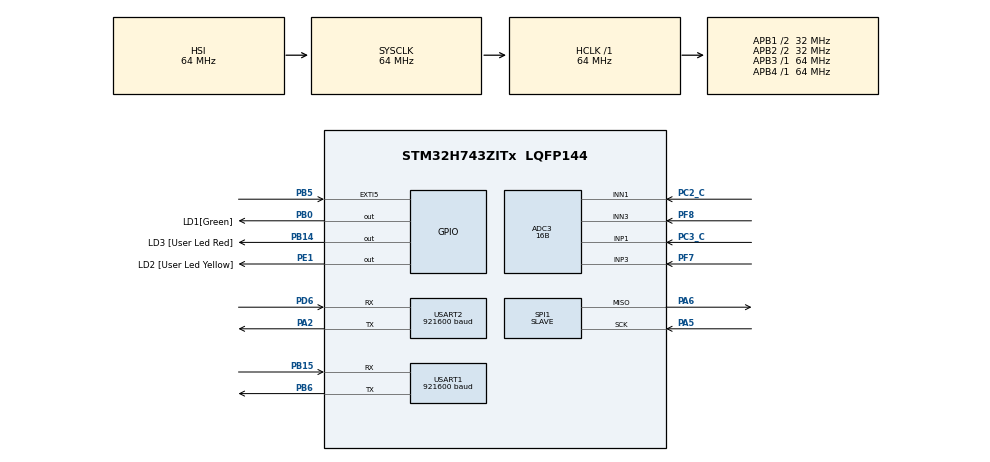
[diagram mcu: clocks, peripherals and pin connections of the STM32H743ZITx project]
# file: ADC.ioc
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ADC3.Channel-0\#ChannelRegularConversion=ADC_CHANNEL_1
ADC3.Channel-1\#ChannelRegularConversion=ADC_CHANNEL_3
ADC3.ClockPrescaler=ADC_CLOCK_ASYNC_DIV4
ADC3.ClockPrescalerADC3=ADC_CLOCK_ASYNC_DIV4
ADC3.ContinuousConvMode=DISABLE
ADC3.ConversionDataManagement=ADC_CONVERSIONDATA_DMA_CIRCULAR
ADC3.EOCSelection=ADC_EOC_SEQ_CONV
ADC3.ExternalTrigConv=ADC_EXTERNALTRIG_T2_TRGO
ADC3.NbrOfConversion=2
ADC3.NbrOfConversionFlag=1
ADC3.OffsetNumber-0\#ChannelRegularConversion=ADC_OFFSET_NONE
ADC3.OffsetNumber-1\#ChannelRegularConversion=ADC_OFFSET_NONE
ADC3.OffsetSignedSaturation-0\#ChannelRegularConversion=DISABLE
ADC3.OffsetSignedSaturation-1\#ChannelRegularConversion=DISABLE
ADC3.OversamplingMode=ENABLE
ADC3.Rank-0\#ChannelRegularConversion=1
ADC3.Rank-1\#ChannelRegularConversion=2
ADC3.Ratio=32
ADC3.Resolution=ADC_RESOLUTION_16B
ADC3.RightBitShift=ADC_RIGHTBITSHIFT_5
ADC3.SamplingTime-0\#ChannelRegularConversion=ADC_SAMPLETIME_8CYCLES_5
ADC3.SamplingTime-1\#ChannelRegularConversion=ADC_SAMPLETIME_8CYCLES_5
ADC3.SingleDiff-0\#ChannelRegularConversion=ADC_DIFFERENTIAL_ENDED
ADC3.SingleDiff-1\#ChannelRegularConversion=ADC_DIFFERENTIAL_ENDED
CORTEX_M7.default_mode_Activation=1
Dma.ADC3.0.Direction=DMA_PERIPH_TO_MEMORY
Dma.ADC3.0.EventEnable=DISABLE
Dma.ADC3.0.FIFOMode=DMA_FIFOMODE_DISABLE
Dma.ADC3.0.Instance=DMA1_Stream0
Dma.ADC3.0.MemDataAlignment=DMA_MDATAALIGN_HALFWORD
Dma.ADC3.0.MemInc=DMA_MINC_ENABLE
Dma.ADC3.0.Mode=DMA_CIRCULAR
Dma.ADC3.0.PeriphDataAlignment=DMA_PDATAALIGN_HALFWORD
Dma.ADC3.0.PeriphInc=DMA_PINC_DISABLE
Dma.ADC3.0.Polarity=HAL_DMAMUX_REQ_GEN_RISING
Dma.ADC3.0.Priority=DMA_PRIORITY_LOW
Dma.ADC3.0.RequestNumber=1
Dma.ADC3.0.SignalID=NONE
Dma.ADC3.0.SyncEnable=DISABLE
Dma.ADC3.0.SyncPolarity=HAL_DMAMUX_SYNC_NO_EVENT
Dma.ADC3.0.SyncRequestNumber=1
Dma.ADC3.0.SyncSignalID=NONE
Dma.Request0=ADC3
Mcu.Family=STM32H7
Mcu.Name=STM32H743ZITx
Mcu.Package=LQFP144
NUCLEO-H743ZI2.BUTTON=0
NUCLEO-H743ZI2.LD1=false
NUCLEO-H743ZI2.VCP=false
NVIC.ADC3_IRQn=true\:0\:0\:false\:false\:true\:true\:true\:true
NVIC.DMA1_Stream0_IRQn=true\:0\:0\:false\:false\:true\:false\:true\:true
NVIC.EXTI9_5_IRQn=true\:0\:0\:false\:false\:true\:true\:true\:true
NVIC.PriorityGroup=NVIC_PRIORITYGROUP_4
NVIC.TIM1_UP_IRQn=true\:0\:0\:false\:false\:true\:true\:true\:true
NVIC.TIM2_IRQn=true\:0\:0\:false\:false\:true\:true\:true\:true
PA13\ (JTMS/SWDIO).GPIO_Label=JTMS
PA13\ (JTMS/SWDIO).Signal=DEBUG_JTMS-SWDIO
PA14\ (JTCK/SWCLK).GPIO_Label=JTCK
PA14\ (JTCK/SWCLK).Signal=DEBUG_JTCK-SWCLK
PA2.Mode=Asynchronous
PA2.Signal=USART2_TX
PA5.Mode=TX_Only_Simplex_Unidirect_Slave
PA5.Signal=SPI1_SCK
PA6.Mode=TX_Only_Simplex_Unidirect_Slave
PA6.Signal=SPI1_MISO
PB0.GPIO_Label=LD1[Green]
PB0.Signal=GPIO_Output
PB14.GPIO_Label=LD3 [User Led Red]
PB14.Signal=GPIO_Output
PB15.Mode=Asynchronous
PB15.Signal=USART1_RX
PB5.GPIO_PuPd=GPIO_NOPULL
PB5.Signal=GPXTI5
PB6.Mode=Asynchronous
PB6.Signal=USART1_TX
PC14-OSC32_IN\ (OSC32_IN).Signal=RCC_OSC32_IN
PC15-OSC32_OUT\ (OSC32_OUT).Signal=RCC_OSC32_OUT
PC2_C.Mode=IN1-Differential
PC2_C.Signal=ADC3_INN1
PC3_C.Mode=IN1-Differential
PC3_C.Signal=ADC3_INP1
PD6.Mode=Asynchronous
PD6.Signal=USART2_RX
PE1.GPIO_Label=LD2 [User Led Yellow]
PE1.Signal=GPIO_Output
PF7.Mode=IN3-Differential
PF7.Signal=ADC3_INP3
PF8.Mode=IN3-Differential
PF8.Signal=ADC3_INN3
PH0-OSC_IN\ (PH0).Signal=RCC_OSC_IN
PH1-OSC_OUT\ (PH1).Signal=RCC_OSC_OUT
ProjectManager.HeapSize=0x200
ProjectManager.StackSize=0x400
ProjectManager.TargetToolchain=STM32CubeIDE
RCC.ADCFreq_Value=80000000
RCC.APB1Freq_Value=32000000
RCC.APB2Freq_Value=32000000
RCC.APB3Freq_Value=64000000
RCC.APB4Freq_Value=64000000
RCC.CortexFreq_Value=64000000
RCC.D2PPRE1=RCC_APB1_DIV2
RCC.D2PPRE2=RCC_APB2_DIV2
RCC.DIVM1=4
RCC.DIVM2=4
RCC.DIVN1=10
RCC.DIVN2=10
RCC.HCLKFreq_Value=64000000
RCC.PLL2FRACN=0
RCC.PLLFRACN=0
RCC.SYSCLKFreq_VALUE=64000000
RCC.USBFreq_Value=80000000
SPI1.DataSize=SPI_DATASIZE_25BIT
SPI1.Direction=SPI_DIRECTION_2LINES_TXONLY
SPI1.Mode=SPI_MODE_SLAVE
SPI1.VirtualType=VM_SLAVE
TIM1.Period=250 / 2
TIM1.Prescaler=64 - 1
TIM1.TIM_MasterOutputTrigger=TIM_TRGO_UPDATE
TIM2.Period=1000000-1
TIM2.Prescaler=64-1
TIM2.TIM_MasterOutputTrigger=TIM_TRGO_UPDATE
USART1.BaudRate=921600
USART1.SwapParam=ADVFEATURE_SWAP_DISABLE
USART1.VirtualMode-Asynchronous=VM_ASYNC
USART2.BaudRate=921600
USART2.VirtualMode-Asynchronous=VM_ASYNC
VP_MEMORYMAP_VS_MEMORYMAP.Mode=CurAppReg
VP_NUCLEO-H743ZI2_VS_BSP_COMMON.Mode=COMMON
VP_TIM1_VS_ClockSourceINT.Mode=Internal
VP_TIM2_VS_ClockSourceINT.Mode=Internal
board=NUCLEO-H743ZI2

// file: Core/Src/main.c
/* USER CODE BEGIN Header */
/**
  ******************************************************************************
  * @file           : main.c
  * @brief          : Main program body
  ******************************************************************************
  * @attention
  *
  * Copyright (c) 2025 STMicroelectronics.
  * All rights reserved.
  *
  * This software is licensed under terms that can be found in the LICENSE file
  * in the root directory of this software component.
  * If no LICENSE file comes with this software, it is provided AS-IS.
  *
  ******************************************************************************
  */
/* USER CODE END Header */
#include "main.h"

/* USER CODE BEGIN Includes */
#include <stdbool.h>
#include "config.h"
/* USER CODE END Includes */

/* USER CODE BEGIN PM */
#define TIM_CLK_FREQ 1000000
#define ADC_CLK_FREQ 1000000
#define NUM_CONVERSIONS 2
/* USER CODE END PM */

ADC_HandleTypeDef hadc3;
DMA_HandleTypeDef hdma_adc3;

SPI_HandleTypeDef hspi1;

TIM_HandleTypeDef htim1;
TIM_HandleTypeDef htim2;

UART_HandleTypeDef huart1;
UART_HandleTypeDef huart2;

/* USER CODE BEGIN PV */
volatile bool adcScanCompleted = false;
volatile bool ssiTxReady = false;

const float adc_max = 65535;
const float ssi_min = 25000;
const float ssi_max = 125000;

/* USER CODE END PV */

void SystemClock_Config(void);
static void MPU_Config(void);
static void MX_DMA_Init(void);
static void MX_GPIO_Init(void);
static void MX_ADC3_Init(void);
static void MX_TIM2_Init(void);
static void MX_USART2_UART_Init(void);
static void MX_USART1_UART_Init(void);
static void MX_SPI1_Init(void);
static void MX_TIM1_Init(void);

/* USER CODE BEGIN 0 */
void HAL_ADC_ConvCpltCallback(ADC_HandleTypeDef* hadc){
	if (hadc == &hadc3){
		adcScanCompleted = true;
	}
}

void HAL_TIM_PeriodElapsedCallback(TIM_HandleTypeDef *htim){
	if (htim == &htim2){
		/*
		 * A new ADC scan has just started
		 */
		//HAL_GPIO_TogglePin(GPIOB, LD3_Pin);

	} else if (htim == &htim1){
		/*
		 * We are now between two SSI CLK burst.
		 * In main loop: load the latest ADC value into buffer for SPI to TX at next burst.
		 * Note that therefore the value being transmitted on the SPI might not be
		 * the most recent ADC value at the time of transmission
		 */
		ssiTxReady = true;
		if (READ_BIT(hspi1.Instance->CR1, SPI_CR1_SSI)){
			CLEAR_BIT(hspi1.Instance->CR1, SPI_CR1_SSI); // Set NSS low, enabling SSI TX
		}
		//HAL_SPI_Abort(&hspi1);
		//HAL_GPIO_WritePin(GPIOA, GPIO_PIN_6, GPIO_PIN_RESET);
		//HAL_GPIO_TogglePin(GPIOE, LD2_Pin);
	}
}

void HAL_GPIO_EXTI_Callback(uint16_t GPIO_Pin){
    if (GPIO_Pin == GPIO_PIN_5){
    	//HAL_GPIO_TogglePin(GPIOB, LD1_Pin);
        __HAL_TIM_SET_COUNTER(&htim1, 0);
    }
}

void HAL_SPI_TxCpltCallBack(SPI_HandleTypeDef * hspi){
	if (hspi == &hspi1){
		//HAL_GPIO_TogglePin(GPIOE, GPIO_PIN_1);
	}
}

/* USER CODE END 0 */

int main(void)
{

  /* USER CODE BEGIN 1 */
  Queue buf;
  uint16_t scan[NUM_CONVERSIONS];
  uint16_t NVIC_cond[NUM_CONVERSIONS];
  uint16_t dequeued[NUM_CONVERSIONS];
  uint8_t UART_TX_package[NUM_CONVERSIONS][3];
  uint32_t SSI_TX_package;
  /* USER CODE END 1 */

  /* MPU Configuration--------------------------------------------------------*/
  MPU_Config();

  /* MCU Configuration--------------------------------------------------------*/

  /* Reset of all peripherals, Initializes the Flash interface and the Systick. */
  HAL_Init();

  /* USER CODE BEGIN Init */
  queue_init(&buf);
  /* USER CODE END Init */

  /* Configure the system clock */
  SystemClock_Config();

  /* Initialize all configured peripherals */
  MX_DMA_Init();
  MX_GPIO_Init();
  MX_ADC3_Init();
  MX_TIM2_Init();
  MX_USART2_UART_Init();
  MX_USART1_UART_Init();
  MX_SPI1_Init();
  MX_TIM1_Init();
  /* USER CODE BEGIN 2 */

  htim1.Init.Period = TIM_CLK_FREQ / (SSI_BAUDRATE / 10); //SSI_FREQ / 4; //Trigger one fourth between two SSI CLK bursts
  HAL_TIM_Base_Init(&htim1);
  HAL_TIM_Base_Start_IT(&htim1);

  htim2.Init.Period = ADC_CLK_FREQ / ADC_SAMPLE_FREQ;
  HAL_TIM_Base_Init(&htim2);
  HAL_TIM_Base_Start_IT(&htim2);

  HAL_ADCEx_Calibration_Start(&hadc3, ADC_CALIB_OFFSET, ADC_DIFFERENTIAL_ENDED);
  HAL_ADC_Start_DMA(&hadc3,(uint32_t *)scan, NUM_CONVERSIONS);

  /* USER CODE END 2 */

  /* Infinite loop */
  /* USER CODE BEGIN WHILE */

  while (1)
  {
    if (adcScanCompleted){
    	  adcScanCompleted = false;

    	for(int i = 0; i < NUM_CONVERSIONS; i++){
    		NVIC_cond[i] = scan[i] >> 1; // ADC full scale  = 100 mm,
    	}								 // NVIC full scale = 200 mm,
    									 // therefore the division by two.

    	queue_push(&buf, NVIC_cond);
    	if (queue_isFull(&buf)){
    		queue_pop(&buf, dequeued);

        	UART_TX_package[0][0] = (0b00 << 6) | ((dequeued[0] >> 0)  & 0x3F);
        	UART_TX_package[0][1] = (0b01 << 6) | ((dequeued[0] >> 6)  & 0x3F);
       		UART_TX_package[0][2] = (0b10 << 6) | ((dequeued[0] >> 12) & 0x0F);

            UART_TX_package[1][0] = (0b00 << 6) | ((dequeued[1] >> 0)  & 0x3F);
       	    UART_TX_package[1][1] = (0b01 << 6) | ((dequeued[1] >> 6)  & 0x3F);
       	    UART_TX_package[1][2] = (0b10 << 6) | ((dequeued[1] >> 12) & 0x0F);

       	    HAL_UART_Transmit(&huart1, UART_TX_package[0], 3, HAL_MAX_DELAY);
       		HAL_UART_Transmit(&huart2, UART_TX_package[1], 3, HAL_MAX_DELAY);
    	}
    }
    if (ssiTxReady){ //polling not robust for higher SSI_FREQ. Consider timer/IT driven transmission in stead.
   			ssiTxReady = false;
   			float cond = ssi_min + scan[0] * (ssi_max - ssi_min) / adc_max;
   	    	SSI_TX_package = (uint32_t)cond;
   	    	HAL_SPI_Transmit(&hspi1, (uint8_t *)&SSI_TX_package, 1, HAL_MAX_DELAY);
    }
  }
    /* USER CODE END WHILE */

}

void SystemClock_Config(void)
{
  RCC_OscInitTypeDef RCC_OscInitStruct = {0};
  RCC_ClkInitTypeDef RCC_ClkInitStruct = {0};

  /** Supply configuration update enable
  */
  HAL_PWREx_ConfigSupply(PWR_LDO_SUPPLY);

  /** Configure the main internal regulator output voltage
  */
  __HAL_PWR_VOLTAGESCALING_CONFIG(PWR_REGULATOR_VOLTAGE_SCALE3);

  while(!__HAL_PWR_GET_FLAG(PWR_FLAG_VOSRDY)) {}

  /** Initializes the RCC Oscillators according to the specified parameters
  * in the RCC_OscInitTypeDef structure.
  */
  RCC_OscInitStruct.OscillatorType = RCC_OSCILLATORTYPE_HSI;
  RCC_OscInitStruct.HSIState = RCC_HSI_DIV1;
  RCC_OscInitStruct.HSICalibrationValue = RCC_HSICALIBRATION_DEFAULT;
  RCC_OscInitStruct.PLL.PLLState = RCC_PLL_ON;
  RCC_OscInitStruct.PLL.PLLSource = RCC_PLLSOURCE_HSI;
  RCC_OscInitStruct.PLL.PLLM = 4;
  RCC_OscInitStruct.PLL.PLLN = 10;
  RCC_OscInitStruct.PLL.PLLP = 2;
  RCC_OscInitStruct.PLL.PLLQ = 2;
  RCC_OscInitStruct.PLL.PLLR = 2;
  RCC_OscInitStruct.PLL.PLLRGE = RCC_PLL1VCIRANGE_3;
  RCC_OscInitStruct.PLL.PLLVCOSEL = RCC_PLL1VCOMEDIUM;
  RCC_OscInitStruct.PLL.PLLFRACN = 0;
  if (HAL_RCC_OscConfig(&RCC_OscInitStruct) != HAL_OK)
  {
    Error_Handler();
  }

  /** Initializes the CPU, AHB and APB buses clocks
  */
  RCC_ClkInitStruct.ClockType = RCC_CLOCKTYPE_HCLK|RCC_CLOCKTYPE_SYSCLK
                              |RCC_CLOCKTYPE_PCLK1|RCC_CLOCKTYPE_PCLK2
                              |RCC_CLOCKTYPE_D3PCLK1|RCC_CLOCKTYPE_D1PCLK1;
  RCC_ClkInitStruct.SYSCLKSource = RCC_SYSCLKSOURCE_HSI;
  RCC_ClkInitStruct.SYSCLKDivider = RCC_SYSCLK_DIV1;
  RCC_ClkInitStruct.AHBCLKDivider = RCC_HCLK_DIV1;
  RCC_ClkInitStruct.APB3CLKDivider = RCC_APB3_DIV1;
  RCC_ClkInitStruct.APB1CLKDivider = RCC_APB1_DIV2;
  RCC_ClkInitStruct.APB2CLKDivider = RCC_APB2_DIV2;
  RCC_ClkInitStruct.APB4CLKDivider = RCC_APB4_DIV1;

  if (HAL_RCC_ClockConfig(&RCC_ClkInitStruct, FLASH_LATENCY_1) != HAL_OK)
  {
    Error_Handler();
  }
}

static void MX_ADC3_Init(void)
{

  ADC_ChannelConfTypeDef sConfig = {0};

  /** Common config
  */
  hadc3.Instance = ADC3;
  hadc3.Init.ClockPrescaler = ADC_CLOCK_ASYNC_DIV4;
  hadc3.Init.Resolution = ADC_RESOLUTION_16B;
  hadc3.Init.ScanConvMode = ADC_SCAN_ENABLE;
  hadc3.Init.EOCSelection = ADC_EOC_SEQ_CONV;
  hadc3.Init.LowPowerAutoWait = DISABLE;
  hadc3.Init.ContinuousConvMode = DISABLE;
  hadc3.Init.NbrOfConversion = 2;
  hadc3.Init.DiscontinuousConvMode = DISABLE;
  hadc3.Init.ExternalTrigConv = ADC_EXTERNALTRIG_T2_TRGO;
  hadc3.Init.ExternalTrigConvEdge = ADC_EXTERNALTRIGCONVEDGE_RISING;
  hadc3.Init.ConversionDataManagement = ADC_CONVERSIONDATA_DMA_CIRCULAR;
  hadc3.Init.Overrun = ADC_OVR_DATA_PRESERVED;
  hadc3.Init.LeftBitShift = ADC_LEFTBITSHIFT_NONE;
  hadc3.Init.OversamplingMode = ENABLE;
  hadc3.Init.Oversampling.Ratio = 32;
  hadc3.Init.Oversampling.RightBitShift = ADC_RIGHTBITSHIFT_5;
  hadc3.Init.Oversampling.TriggeredMode = ADC_TRIGGEREDMODE_SINGLE_TRIGGER;
  hadc3.Init.Oversampling.OversamplingStopReset = ADC_REGOVERSAMPLING_CONTINUED_MODE;
  if (HAL_ADC_Init(&hadc3) != HAL_OK)
  {
    Error_Handler();
  }

  /** Configure Regular Channel
  */
  sConfig.Channel = ADC_CHANNEL_1;
  sConfig.Rank = ADC_REGULAR_RANK_1;
  sConfig.SamplingTime = ADC_SAMPLETIME_8CYCLES_5;
  sConfig.SingleDiff = ADC_DIFFERENTIAL_ENDED;
  sConfig.OffsetNumber = ADC_OFFSET_NONE;
  sConfig.Offset = 0;
  sConfig.OffsetSignedSaturation = DISABLE;
  if (HAL_ADC_ConfigChannel(&hadc3, &sConfig) != HAL_OK)
  {
    Error_Handler();
  }

  /** Configure Regular Channel
  */
  sConfig.Channel = ADC_CHANNEL_3;
  sConfig.Rank = ADC_REGULAR_RANK_2;
  if (HAL_ADC_ConfigChannel(&hadc3, &sConfig) != HAL_OK)
  {
    Error_Handler();
  }

}

static void MX_SPI1_Init(void)
{

  /* SPI1 parameter configuration*/
  hspi1.Instance = SPI1;
  hspi1.Init.Mode = SPI_MODE_SLAVE;
  hspi1.Init.Direction = SPI_DIRECTION_2LINES_TXONLY;
  hspi1.Init.DataSize = SPI_DATASIZE_25BIT;
  hspi1.Init.CLKPolarity = SPI_POLARITY_LOW;
  hspi1.Init.CLKPhase = SPI_PHASE_1EDGE;
  hspi1.Init.NSS = SPI_NSS_SOFT;
  hspi1.Init.FirstBit = SPI_FIRSTBIT_MSB;
  hspi1.Init.TIMode = SPI_TIMODE_DISABLE;
  hspi1.Init.CRCCalculation = SPI_CRCCALCULATION_DISABLE;
  hspi1.Init.CRCPolynomial = 0x0;
  hspi1.Init.NSSPMode = SPI_NSS_PULSE_DISABLE;
  hspi1.Init.NSSPolarity = SPI_NSS_POLARITY_LOW;
  hspi1.Init.FifoThreshold = SPI_FIFO_THRESHOLD_01DATA;
  hspi1.Init.TxCRCInitializationPattern = SPI_CRC_INITIALIZATION_ALL_ZERO_PATTERN;
  hspi1.Init.RxCRCInitializationPattern = SPI_CRC_INITIALIZATION_ALL_ZERO_PATTERN;
  hspi1.Init.MasterSSIdleness = SPI_MASTER_SS_IDLENESS_00CYCLE;
  hspi1.Init.MasterInterDataIdleness = SPI_MASTER_INTERDATA_IDLENESS_00CYCLE;
  hspi1.Init.MasterReceiverAutoSusp = SPI_MASTER_RX_AUTOSUSP_DISABLE;
  hspi1.Init.MasterKeepIOState = SPI_MASTER_KEEP_IO_STATE_DISABLE;
  hspi1.Init.IOSwap = SPI_IO_SWAP_DISABLE;
  if (HAL_SPI_Init(&hspi1) != HAL_OK)
  {
    Error_Handler();
  }
  /* USER CODE BEGIN SPI1_Init 2 */
  SET_BIT(hspi1.Instance->CR1, SPI_CR1_SSI); // Set NSS register high, disabling SSI TX
  /* USER CODE END SPI1_Init 2 */

}

static void MX_TIM1_Init(void)
{

  TIM_ClockConfigTypeDef sClockSourceConfig = {0};
  TIM_MasterConfigTypeDef sMasterConfig = {0};

  htim1.Instance = TIM1;
  htim1.Init.Prescaler = 64 - 1;
  htim1.Init.CounterMode = TIM_COUNTERMODE_UP;
  htim1.Init.Period = 250 / 2;
  htim1.Init.ClockDivision = TIM_CLOCKDIVISION_DIV1;
  htim1.Init.RepetitionCounter = 0;
  htim1.Init.AutoReloadPreload = TIM_AUTORELOAD_PRELOAD_DISABLE;
  if (HAL_TIM_Base_Init(&htim1) != HAL_OK)
  {
    Error_Handler();
  }
  sClockSourceConfig.ClockSource = TIM_CLOCKSOURCE_INTERNAL;
  if (HAL_TIM_ConfigClockSource(&htim1, &sClockSourceConfig) != HAL_OK)
  {
    Error_Handler();
  }
  sMasterConfig.MasterOutputTrigger = TIM_TRGO_UPDATE;
  sMasterConfig.MasterOutputTrigger2 = TIM_TRGO2_RESET;
  sMasterConfig.MasterSlaveMode = TIM_MASTERSLAVEMODE_DISABLE;
  if (HAL_TIMEx_MasterConfigSynchronization(&htim1, &sMasterConfig) != HAL_OK)
  {
    Error_Handler();
  }

}

static void MX_TIM2_Init(void)
{

  TIM_ClockConfigTypeDef sClockSourceConfig = {0};
  TIM_MasterConfigTypeDef sMasterConfig = {0};

  htim2.Instance = TIM2;
  htim2.Init.Prescaler = 64-1;
  htim2.Init.CounterMode = TIM_COUNTERMODE_UP;
  htim2.Init.Period = 1000000-1;
  htim2.Init.ClockDivision = TIM_CLOCKDIVISION_DIV1;
  htim2.Init.AutoReloadPreload = TIM_AUTORELOAD_PRELOAD_DISABLE;
  if (HAL_TIM_Base_Init(&htim2) != HAL_OK)
  {
    Error_Handler();
  }
  sClockSourceConfig.ClockSource = TIM_CLOCKSOURCE_INTERNAL;
  if (HAL_TIM_ConfigClockSource(&htim2, &sClockSourceConfig) != HAL_OK)
  {
    Error_Handler();
  }
  sMasterConfig.MasterOutputTrigger = TIM_TRGO_UPDATE;
  sMasterConfig.MasterSlaveMode = TIM_MASTERSLAVEMODE_DISABLE;
  if (HAL_TIMEx_MasterConfigSynchronization(&htim2, &sMasterConfig) != HAL_OK)
  {
    Error_Handler();
  }

}

static void MX_USART1_UART_Init(void)
{

  huart1.Instance = USART1;
  huart1.Init.BaudRate = 921600;
  huart1.Init.WordLength = UART_WORDLENGTH_8B;
  huart1.Init.StopBits = UART_STOPBITS_1;
  huart1.Init.Parity = UART_PARITY_NONE;
  huart1.Init.Mode = UART_MODE_TX_RX;
  huart1.Init.HwFlowCtl = UART_HWCONTROL_NONE;
  huart1.Init.OverSampling = UART_OVERSAMPLING_16;
  huart1.Init.OneBitSampling = UART_ONE_BIT_SAMPLE_DISABLE;
  huart1.Init.ClockPrescaler = UART_PRESCALER_DIV1;
  huart1.AdvancedInit.AdvFeatureInit = UART_ADVFEATURE_NO_INIT;
  if (HAL_UART_Init(&huart1) != HAL_OK)
  {
    Error_Handler();
  }
  if (HAL_UARTEx_SetTxFifoThreshold(&huart1, UART_TXFIFO_THRESHOLD_1_8) != HAL_OK)
  {
    Error_Handler();
  }
  if (HAL_UARTEx_SetRxFifoThreshold(&huart1, UART_RXFIFO_THRESHOLD_1_8) != HAL_OK)
  {
    Error_Handler();
  }
  if (HAL_UARTEx_DisableFifoMode(&huart1) != HAL_OK)
  {
    Error_Handler();
  }

}

static void MX_USART2_UART_Init(void)
{

  huart2.Instance = USART2;
  huart2.Init.BaudRate = 921600;
  huart2.Init.WordLength = UART_WORDLENGTH_8B;
  huart2.Init.StopBits = UART_STOPBITS_1;
  huart2.Init.Parity = UART_PARITY_NONE;
  huart2.Init.Mode = UART_MODE_TX_RX;
  huart2.Init.HwFlowCtl = UART_HWCONTROL_NONE;
  huart2.Init.OverSampling = UART_OVERSAMPLING_16;
  huart2.Init.OneBitSampling = UART_ONE_BIT_SAMPLE_DISABLE;
  huart2.Init.ClockPrescaler = UART_PRESCALER_DIV1;
  huart2.AdvancedInit.AdvFeatureInit = UART_ADVFEATURE_NO_INIT;
  if (HAL_UART_Init(&huart2) != HAL_OK)
  {
    Error_Handler();
  }
  if (HAL_UARTEx_SetTxFifoThreshold(&huart2, UART_TXFIFO_THRESHOLD_1_8) != HAL_OK)
  {
    Error_Handler();
  }
  if (HAL_UARTEx_SetRxFifoThreshold(&huart2, UART_RXFIFO_THRESHOLD_1_8) != HAL_OK)
  {
    Error_Handler();
  }
  if (HAL_UARTEx_DisableFifoMode(&huart2) != HAL_OK)
  {
    Error_Handler();
  }

}

static void MX_DMA_Init(void)
{

  /* DMA controller clock enable */
  __HAL_RCC_DMA1_CLK_ENABLE();

  /* DMA interrupt init */
  /* DMA1_Stream0_IRQn interrupt configuration */
  HAL_NVIC_SetPriority(DMA1_Stream0_IRQn, 0, 0);
  HAL_NVIC_EnableIRQ(DMA1_Stream0_IRQn);

}

static void MX_GPIO_Init(void)
{
  GPIO_InitTypeDef GPIO_InitStruct = {0};

  /* GPIO Ports Clock Enable */
  __HAL_RCC_GPIOC_CLK_ENABLE();
  __HAL_RCC_GPIOF_CLK_ENABLE();
  __HAL_RCC_GPIOH_CLK_ENABLE();
  __HAL_RCC_GPIOA_CLK_ENABLE();
  __HAL_RCC_GPIOB_CLK_ENABLE();
  __HAL_RCC_GPIOD_CLK_ENABLE();
  __HAL_RCC_GPIOE_CLK_ENABLE();

  /*Configure GPIO pin Output Level */
  HAL_GPIO_WritePin(GPIOB, LD1_Pin|LD3_Pin, GPIO_PIN_RESET);

  /*Configure GPIO pin Output Level */
  HAL_GPIO_WritePin(LD2_GPIO_Port, LD2_Pin, GPIO_PIN_RESET);

  /*Configure GPIO pins : LD1_Pin LD3_Pin */
  GPIO_InitStruct.Pin = LD1_Pin|LD3_Pin;
  GPIO_InitStruct.Mode = GPIO_MODE_OUTPUT_PP;
  GPIO_InitStruct.Pull = GPIO_NOPULL;
  GPIO_InitStruct.Speed = GPIO_SPEED_FREQ_LOW;
  HAL_GPIO_Init(GPIOB, &GPIO_InitStruct);

  /*Configure GPIO pin : PB5 */
  GPIO_InitStruct.Pin = GPIO_PIN_5;
  GPIO_InitStruct.Mode = GPIO_MODE_IT_RISING;
  GPIO_InitStruct.Pull = GPIO_NOPULL;
  HAL_GPIO_Init(GPIOB, &GPIO_InitStruct);

  /*Configure GPIO pin : LD2_Pin */
  GPIO_InitStruct.Pin = LD2_Pin;
  GPIO_InitStruct.Mode = GPIO_MODE_OUTPUT_PP;
  GPIO_InitStruct.Pull = GPIO_NOPULL;
  GPIO_InitStruct.Speed = GPIO_SPEED_FREQ_LOW;
  HAL_GPIO_Init(LD2_GPIO_Port, &GPIO_InitStruct);

  /* EXTI interrupt init*/
  HAL_NVIC_SetPriority(EXTI9_5_IRQn, 0, 0);
  HAL_NVIC_EnableIRQ(EXTI9_5_IRQn);

  /* USER CODE BEGIN MX_GPIO_Init_2 */
  /*__HAL_RCC_SYSCFG_CLK_ENABLE();
  HAL_NVIC_SetPriority(EXTI9_5_IRQn, 0, 0);
  HAL_NVIC_EnableIRQ(EXTI9_5_IRQn);
  GPIO_InitStruct.Pin = GPIO_PIN_5;
  GPIO_InitStruct.Mode = GPIO_MODE_IT_RISING_FALLING;
  GPIO_InitStruct.Pull = GPIO_NOPULL;
  HAL_GPIO_Init(GPIOA, &GPIO_InitStruct);*/
  /* USER CODE END MX_GPIO_Init_2 */
}

 /* MPU Configuration */

void MPU_Config(void)
{
  MPU_Region_InitTypeDef MPU_InitStruct = {0};

  /* Disables the MPU */
  HAL_MPU_Disable();

  /** Initializes and configures the Region and the memory to be protected
  */
  MPU_InitStruct.Enable = MPU_REGION_ENABLE;
  MPU_InitStruct.Number = MPU_REGION_NUMBER0;
  MPU_InitStruct.BaseAddress = 0x0;
  MPU_InitStruct.Size = MPU_REGION_SIZE_4GB;
  MPU_InitStruct.SubRegionDisable = 0x87;
  MPU_InitStruct.TypeExtField = MPU_TEX_LEVEL0;
  MPU_InitStruct.AccessPermission = MPU_REGION_NO_ACCESS;
  MPU_InitStruct.DisableExec = MPU_INSTRUCTION_ACCESS_DISABLE;
  MPU_InitStruct.IsShareable = MPU_ACCESS_SHAREABLE;
  MPU_InitStruct.IsCacheable = MPU_ACCESS_NOT_CACHEABLE;
  MPU_InitStruct.IsBufferable = MPU_ACCESS_NOT_BUFFERABLE;

  HAL_MPU_ConfigRegion(&MPU_InitStruct);
  /* Enables the MPU */
  HAL_MPU_Enable(MPU_PRIVILEGED_DEFAULT);

}

void Error_Handler(void)
{
  __disable_irq();
  while (1)
  {
  }
}
